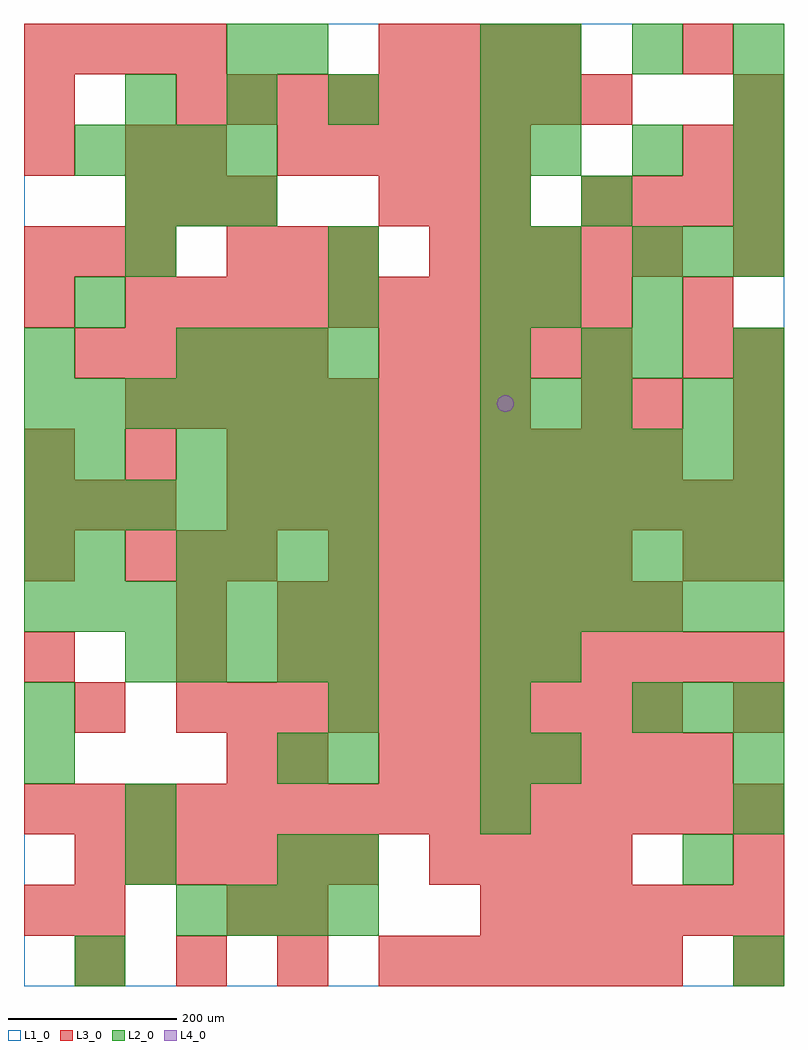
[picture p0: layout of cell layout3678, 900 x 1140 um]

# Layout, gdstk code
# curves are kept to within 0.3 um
import gdstk
lib = gdstk.Library(unit=1e-6, precision=1e-09)
def R(c, l, rs):  # rectangles x0, y0, x1, y1
    for r in rs: c.add(gdstk.rectangle(r[:2], r[2:], *l))
def A(c, l, x, y, w, h, nx, ny, dx, dy):  # array of equal rectangles
    R(c, l, [(x+i*dx, y+j*dy, x+i*dx+w, y+j*dy+h) for i in range(nx) for j in range(ny)])
def P(c, l, *ps):  # polygons
    for p in ps: c.add(gdstk.Polygon(p, *l))
L1_0 = (1, 0)
L2_0 = (2, 0)
L3_0 = (3, 0)
L4_0 = (4, 0)

layout3678 = lib.new_cell('layout3678')
R(layout3678, L1_0, [(0,0,900,1140)])
A(layout3678, L2_0, 180, 60, 60, 60, 4, 2, 60, 420)
A(layout3678, L2_0, 840, 180, 60, 60, 1, 3, 0, 60)
A(layout3678, L2_0, 360, 300, 60, 60, 3, 1, 180, 0)
A(layout3678, L2_0, 120, 360, 60, 60, 5, 1, 60, 0)
A(layout3678, L2_0, 0, 420, 60, 60, 7, 3, 60, 120)
A(layout3678, L2_0, 540, 420, 60, 60, 6, 4, 60, 60)
A(layout3678, L2_0, 0, 480, 60, 60, 1, 3, 0, 120)
A(layout3678, L2_0, 180, 600, 60, 60, 4, 2, 60, 120)
A(layout3678, L2_0, 540, 660, 60, 60, 3, 1, 60, 0)
A(layout3678, L2_0, 540, 720, 60, 60, 1, 7, 0, 60)
A(layout3678, L2_0, 720, 840, 60, 60, 3, 1, 60, 0)
A(layout3678, L2_0, 120, 900, 60, 60, 3, 1, 60, 0)
A(layout3678, L2_0, 60, 960, 60, 60, 4, 1, 60, 0)
A(layout3678, L2_0, 600, 960, 60, 60, 3, 2, 120, 120)
A(layout3678, L2_0, 120, 1020, 60, 60, 3, 1, 120, 0)
R(layout3678, L2_0, [(60,0,120,60), (840,0,900,60), (120,120,180,180), (300,120,360,180), (360,120,420,180), (780,120,840,180), (120,180,180,240), (540,180,600,240), (0,240,60,300), (300,240,360,300), (360,240,420,300), (540,240,600,300), (600,240,660,300), (0,300,60,360), (780,300,840,360), (540,360,600,420), (600,360,660,420), (60,480,120,540), (60,600,120,660), (780,660,840,720), (840,660,900,720), (660,720,720,780), (720,720,780,780), (840,720,900,780), (60,780,120,840), (360,780,420,840), (600,780,660,840), (720,780,780,840), (120,840,180,900), (360,840,420,900), (600,840,660,900), (660,900,720,960), (840,900,900,960), (600,1020,660,1080), (840,1020,900,1080), (240,1080,300,1140), (300,1080,360,1140)])
A(layout3678, L3_0, 60, 0, 60, 60, 4, 1, 120, 0)
A(layout3678, L3_0, 480, 0, 60, 60, 5, 2, 60, 840)
A(layout3678, L3_0, 540, 60, 60, 60, 6, 1, 60, 0)
A(layout3678, L3_0, 60, 120, 60, 60, 6, 1, 60, 0)
A(layout3678, L3_0, 480, 120, 60, 60, 4, 1, 60, 0)
A(layout3678, L3_0, 840, 120, 60, 60, 1, 3, 0, 180)
A(layout3678, L3_0, 0, 180, 60, 60, 15, 1, 60, 0)
A(layout3678, L3_0, 420, 240, 60, 60, 7, 1, 60, 0)
A(layout3678, L3_0, 180, 300, 60, 60, 10, 1, 60, 0)
A(layout3678, L3_0, 300, 360, 60, 60, 10, 1, 60, 0)
A(layout3678, L3_0, 300, 420, 60, 60, 8, 2, 60, 180)
A(layout3678, L3_0, 120, 480, 60, 60, 3, 2, 60, 420)
A(layout3678, L3_0, 360, 480, 60, 60, 6, 1, 60, 0)
A(layout3678, L3_0, 0, 540, 60, 60, 3, 2, 60, 300)
A(layout3678, L3_0, 240, 540, 60, 60, 11, 1, 60, 0)
A(layout3678, L3_0, 0, 600, 60, 60, 3, 1, 120, 0)
A(layout3678, L3_0, 840, 600, 60, 60, 1, 3, 0, 60)
A(layout3678, L3_0, 120, 660, 60, 60, 8, 1, 60, 0)
A(layout3678, L3_0, 60, 720, 60, 60, 5, 1, 60, 0)
A(layout3678, L3_0, 420, 720, 60, 60, 5, 1, 60, 0)
A(layout3678, L3_0, 120, 780, 60, 60, 10, 1, 60, 0)
A(layout3678, L3_0, 240, 840, 60, 60, 3, 1, 60, 0)
A(layout3678, L3_0, 420, 900, 60, 60, 3, 1, 60, 0)
A(layout3678, L3_0, 660, 900, 60, 60, 4, 1, 60, 0)
A(layout3678, L3_0, 300, 960, 60, 60, 5, 1, 60, 0)
A(layout3678, L3_0, 180, 1020, 60, 60, 9, 1, 60, 0)
A(layout3678, L3_0, 0, 1080, 60, 60, 4, 1, 60, 0)
A(layout3678, L3_0, 420, 1080, 60, 60, 4, 1, 60, 0)
R(layout3678, L3_0, [(840,0,900,60), (0,60,60,120), (60,60,120,120), (240,60,300,120), (300,60,360,120), (240,240,300,300), (300,240,360,300), (60,300,120,360), (0,360,60,420), (180,360,240,420), (180,420,240,480), (0,480,60,540), (780,480,840,540), (660,660,720,720), (720,660,780,720), (780,720,840,780), (0,780,60,840), (780,780,840,840), (840,840,900,900), (0,960,60,1020), (120,960,180,1020), (180,960,240,1020), (780,960,840,1020), (840,960,900,1020), (0,1020,60,1080), (840,1020,900,1080), (780,1080,840,1140)])
P(layout3678, L4_0, [(580,690),(579.239,693.827),(577.071,697.071),(573.827,699.239),(570,700),(566.173,699.239),(562.929,697.071),(560.761,693.827),(560,690),(560.761,686.173),(562.929,682.929),(566.173,680.761),(570,680),(573.827,680.761),(577.071,682.929),(579.239,686.173)])

lib.write_gds('layout3678.gds')
